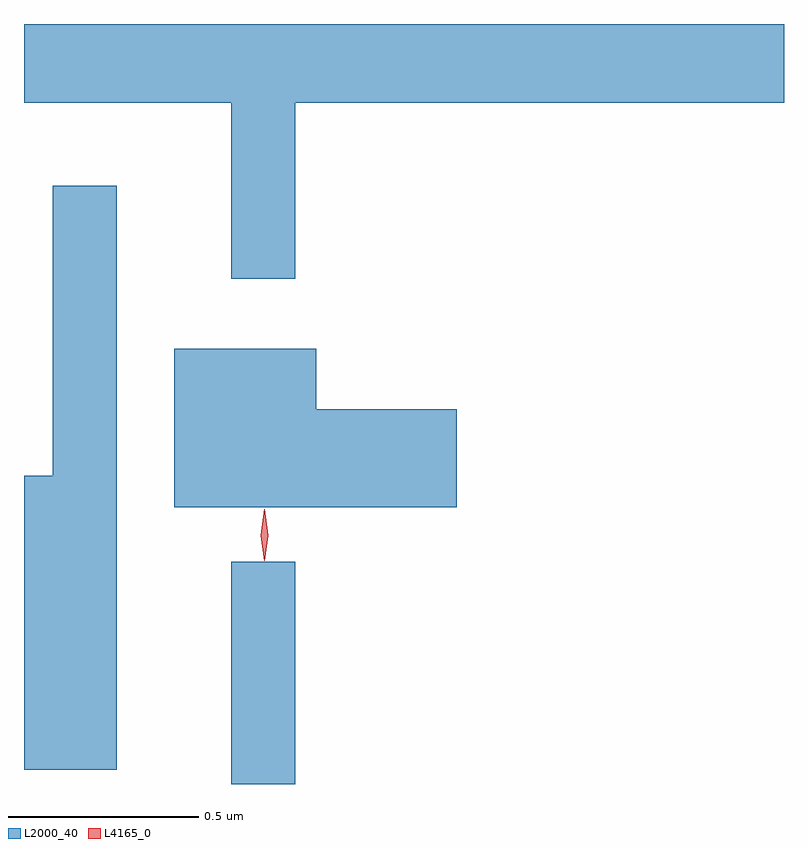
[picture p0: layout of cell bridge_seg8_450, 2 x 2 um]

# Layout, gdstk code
import gdstk
lib = gdstk.Library(unit=1e-6, precision=1e-09)
def R(c, l, rs):  # rectangles x0, y0, x1, y1
    for r in rs: c.add(gdstk.rectangle(r[:2], r[2:], *l))
def P(c, l, *ps):  # polygons
    for p in ps: c.add(gdstk.Polygon(p, *l))
L2000_40 = (2000, 40)
L4165_0 = (4165, 0)

bridge_seg8_450 = lib.new_cell('bridge_seg8_450')
R(bridge_seg8_450, L2000_40, [(1009.291,1816.863,1009.459,1817.448)])
P(bridge_seg8_450, L2000_40, [(1009.459,1818.656),(1010.745,1818.656),(1010.745,1818.863),(1008.745,1818.863),(1008.745,1818.656),(1009.291,1818.656),(1009.291,1818.193),(1009.459,1818.193)],
  [(1008.989,1818.438),(1008.821,1818.438),(1008.821,1817.674),(1008.745,1817.674),(1008.745,1816.901),(1008.989,1816.901)],
  [(1009.884,1817.849),(1009.514,1817.849),(1009.514,1818.009),(1009.141,1818.009),(1009.141,1817.591),(1009.884,1817.591)])
P(bridge_seg8_450, L4165_0, [(1009.377,1817.45),(1009.368,1817.518),(1009.377,1817.586),(1009.378,1817.586),(1009.378,1817.586),(1009.388,1817.518),(1009.378,1817.45),(1009.378,1817.45)],
  [(1009.377,1817.453),(1009.368,1817.516),(1009.377,1817.579),(1009.378,1817.58),(1009.378,1817.579),(1009.388,1817.516),(1009.378,1817.453),(1009.378,1817.453)])

lib.write_gds('bridge_seg8_450.gds')
